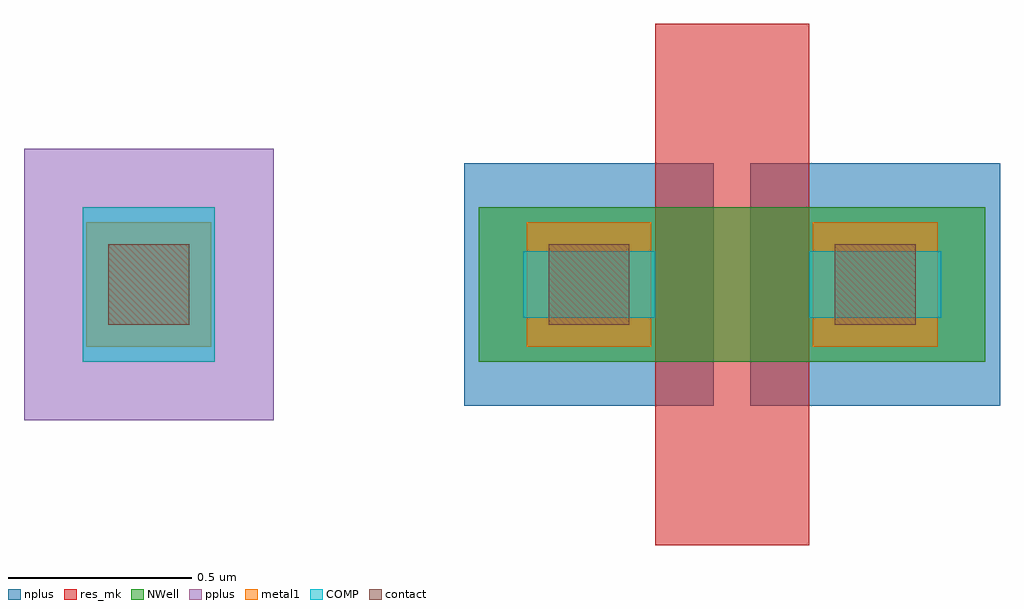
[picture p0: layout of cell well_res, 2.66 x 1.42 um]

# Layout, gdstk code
import gdstk
lib = gdstk.Library(unit=1e-6, precision=1e-09)
def R(c, l, rs):  # rectangles x0, y0, x1, y1
    for r in rs: c.add(gdstk.rectangle(r[:2], r[2:], *l))
NWell = (21, 0)
COMP = (22, 0)
pplus = (31, 0)
nplus = (32, 0)
contact = (33, 0)
metal1 = (34, 0)
res_mk = (110, 5)

compass_740fe7d5 = lib.new_cell('compass_740fe7d5')
R(compass_740fe7d5, res_mk, [(-0.21,-0.71,0.21,0.71)])

rectangle_740fe7d5 = lib.new_cell('rectangle_740fe7d5')
rectangle_740fe7d5.add(gdstk.Reference(compass_740fe7d5, (0.21,0.71)))

compass_9ddb10f9 = lib.new_cell('compass_9ddb10f9')
R(compass_9ddb10f9, NWell, [(-0.69,-0.21,0.69,0.21)])

rectangle_9ddb10f9 = lib.new_cell('rectangle_9ddb10f9')
rectangle_9ddb10f9.add(gdstk.Reference(compass_9ddb10f9, (0.69,0.21)))

compass_fbe37a0d = lib.new_cell('compass_fbe37a0d')
R(compass_fbe37a0d, COMP, [(-0.18,-0.09,0.18,0.09)])

rectangle_fbe37a0d = lib.new_cell('rectangle_fbe37a0d')
rectangle_fbe37a0d.add(gdstk.Reference(compass_fbe37a0d, (0.18,0.09)))

compass_f38dc993 = lib.new_cell('compass_f38dc993')
R(compass_f38dc993, contact, [(-0.11,-0.11,0.11,0.11)])

rectangle_f38dc993 = lib.new_cell('rectangle_f38dc993')
rectangle_f38dc993.add(gdstk.Reference(compass_f38dc993, (0.11,0.11)))

via_generator_f92a8e5e = lib.new_cell('via_generator_f92a8e5e')
r = gdstk.Reference(rectangle_f38dc993, (-0.29,0.6)); r.repetition = gdstk.Repetition(1, 1, v1=(0.5,0), v2=(0,0.5)); via_generator_f92a8e5e.add(r)

compass_02b66c81 = lib.new_cell('compass_02b66c81')
R(compass_02b66c81, metal1, [(-0.17,-0.17,0.17,0.17)])

rectangle_02b66c81 = lib.new_cell('rectangle_02b66c81')
rectangle_02b66c81.add(gdstk.Reference(compass_02b66c81, (0.17,0.17)))

via_stack_218118ae = lib.new_cell('via_stack_218118ae')
via_stack_218118ae.add(gdstk.Reference(via_generator_f92a8e5e, (0,0)))
via_stack_218118ae.add(gdstk.Reference(rectangle_02b66c81, (-0.35,0.54)))

comp_related_gen_36ddb72 = lib.new_cell('comp_related_gen_36ddb724')
comp_related_gen_36ddb72.add(gdstk.Reference(rectangle_fbe37a0d, (-0.36,0.62)))
comp_related_gen_36ddb72.add(gdstk.Reference(via_stack_218118ae, (0,0)))

compass_9adb748e = lib.new_cell('compass_9adb748e')
R(compass_9adb748e, nplus, [(-0.34,-0.33,0.34,0.33)])

rectangle_9adb748e = lib.new_cell('rectangle_9adb748e')
rectangle_9adb748e.add(gdstk.Reference(compass_9adb748e, (0.34,0.33)))

compass_d3538f99 = lib.new_cell('compass_d3538f99')
R(compass_d3538f99, COMP, [(-0.18,-0.21,0.18,0.21)])

rectangle_d3538f99 = lib.new_cell('rectangle_d3538f99')
rectangle_d3538f99.add(gdstk.Reference(compass_d3538f99, (0.18,0.21)))

via_generator_a2042583 = lib.new_cell('via_generator_a2042583')
r = gdstk.Reference(rectangle_f38dc993, (-1.49,0.6)); r.repetition = gdstk.Repetition(1, 1, v1=(0.5,0), v2=(0,0.5)); via_generator_a2042583.add(r)

via_stack_028e08ee = lib.new_cell('via_stack_028e08ee')
via_stack_028e08ee.add(gdstk.Reference(via_generator_a2042583, (0,0)))
via_stack_028e08ee.add(gdstk.Reference(rectangle_02b66c81, (-1.55,0.54)))

compass_bfc92382 = lib.new_cell('compass_bfc92382')
R(compass_bfc92382, pplus, [(-0.34,-0.37,0.34,0.37)])

rectangle_bfc92382 = lib.new_cell('rectangle_bfc92382')
rectangle_bfc92382.add(gdstk.Reference(compass_bfc92382, (0.34,0.37)))

well_res = lib.new_cell('well_res')
well_res.add(gdstk.Reference(rectangle_740fe7d5, (0,0)))
well_res.add(gdstk.Reference(rectangle_9ddb10f9, (-0.48,0.5)))
r = gdstk.Reference(comp_related_gen_36ddb72, (0,0)); r.repetition = gdstk.Repetition(2, 1, v1=(0.78,0), v2=(0,1)); well_res.add(r)
r = gdstk.Reference(rectangle_9adb748e, (-0.52,0.38)); r.repetition = gdstk.Repetition(2, 1, v1=(0.78,0), v2=(0,1)); well_res.add(r)
well_res.add(gdstk.Reference(rectangle_d3538f99, (-1.56,0.5)))
well_res.add(gdstk.Reference(via_stack_028e08ee, (0,0)))
well_res.add(gdstk.Reference(rectangle_bfc92382, (-1.72,0.34)))

lib.write_gds('well_res.gds')
